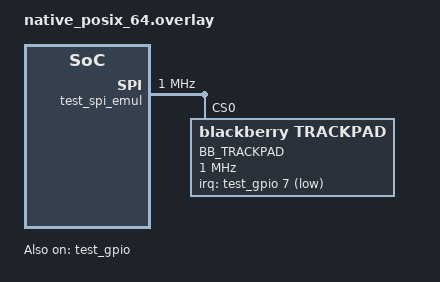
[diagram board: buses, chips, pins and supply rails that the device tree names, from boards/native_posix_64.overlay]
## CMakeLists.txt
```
# SPDX-License-Identifier: Apache-2.0

cmake_minimum_required(VERSION 3.20.0)
find_package(Zephyr REQUIRED HINTS $ENV{ZEPHYR_BASE})
project(trackpad_scroll_gestures_test)

# Source files for trackpad scroll gestures test
target_sources(app PRIVATE src/main.c)

# Build trackpad driver conditionally
target_sources_ifdef(CONFIG_BLACKBERRY_TRACKPAD app PRIVATE ${CMAKE_CURRENT_SOURCE_DIR}/../../../drivers/input/blackberry_trackpad.c)
```

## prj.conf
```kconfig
# Trackpad Scroll Gestures Test Configuration
CONFIG_ZTEST=y
CONFIG_ZTEST_NEW_API=y
CONFIG_TEST_LOGGING_DEFAULTS=y

# Core subsystems
CONFIG_INPUT=y
CONFIG_SPI=y  
CONFIG_GPIO=y
CONFIG_I2C=y

# Emulation support for testing
CONFIG_SPI_EMUL=y
CONFIG_GPIO_EMUL=y
CONFIG_EMUL=y

# Enable BlackBerry trackpad driver
CONFIG_BLACKBERRY_TRACKPAD=y

# Input processing chain for gestures
CONFIG_ZMK_INPUT_PROCESSOR_SCALER=y
CONFIG_ZMK_INPUT_PROCESSOR_TEMP_LAYER=y
CONFIG_ZMK_INPUT_PROCESSOR_TRANSFORM=y

# Gesture recognition support
CONFIG_ZMK_MOUSE_SUPPORT=y
CONFIG_ZMK_MOUSE_SCROLL=y

# Logging
CONFIG_LOG=y
CONFIG_LOG_DEFAULT_LEVEL=3
CONFIG_LOG_BACKEND_SHOW_COLOR=n

# Async safety - adequate stack size
CONFIG_MAIN_STACK_SIZE=2048
CONFIG_IDLE_STACK_SIZE=1024

# Test-specific settings
CONFIG_BOOT_BANNER=n
```

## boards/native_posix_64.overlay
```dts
/*
 * Copyright (c) 2023 The ZMK Contributors
 *
 * SPDX-License-Identifier: Apache-2.0
 */

#include <zephyr/dt-bindings/input/input.h>

/ {
    aliases {
        bb-trackpad = &bb_trackpad;
    };

    chosen {
        zephyr,console = &uart0;
        zephyr,shell-uart = &uart0;
    };

    /* Test SPI emulator bus for scroll gesture testing */
    test_spi_emul: spi_emul@1000 {
        compatible = "zephyr,spi-emul-controller";
        reg = <0x1000 0x100>;
        clock-frequency = <1000000>;
        #address-cells = <1>;
        #size-cells = <0>;
        status = "okay";

        bb_trackpad: bb_trackpad_emul@0 {
            compatible = "blackberry,trackpad";
            reg = <0>;
            label = "BB_TRACKPAD";
            spi-max-frequency = <1000000>;
            irq-gpios = <&test_gpio 7 GPIO_ACTIVE_LOW>;
            scale-x = <2>;
            scale-y = <2>;
            invert-x;
            /* Enable scroll gesture detection */
            scroll-threshold = <3>;
            scroll-timeout-ms = <200>;
            status = "okay";
        };
    };

    /* Test GPIO emulator */
    test_gpio: gpio_emul@2000 {
        compatible = "zephyr,gpio-emul";
        reg = <0x2000 4>;
        gpio-controller;
        #gpio-cells = <2>;
        ngpios = <32>;
        status = "okay";
    };

    /* Enhanced input processor chain for scroll gestures */
    input_processors {
        compatible = "zmk,input-processor-chain";

        scaler: input_processor_scaler {
            compatible = "zmk,input-processor-scaler";
            #input-processor-cells = <0>;
            x-multiplier = <1>;
            y-multiplier = <1>;
            scale-multiplier = <1>;
        };

        transform: input_processor_transform {
            compatible = "zmk,input-processor-transform";
            #input-processor-cells = <0>;
            /* Transform for scroll gesture recognition */
            x-invert;
            y-invert;
        };

        temp_layer: input_processor_temp_layer {
            compatible = "zmk,input-processor-temp-layer";
            #input-processor-cells = <0>;
            layer = <1>;
            timeout-ms = <2000>;
            require-prior-idle-ms = <500>;
        };
    };
};
```

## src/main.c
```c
/*
 * Copyright (c) 2023 The ZMK Contributors
 *
 * SPDX-License-Identifier: Apache-2.0
 */

#include <zephyr/ztest.h>
#include <zephyr/devicetree.h>
#include <zephyr/device.h>
#include <zephyr/input/input.h>
#include <zephyr/drivers/spi.h>
#include <zephyr/drivers/gpio.h>
#include <zephyr/logging/log.h>
#include <zephyr/kernel.h>

LOG_MODULE_REGISTER(trackpad_scroll_test, CONFIG_LOG_DEFAULT_LEVEL);

/* Device tree aliases for test device lookup */
#if DT_NODE_EXISTS(DT_ALIAS(bb_trackpad))
#define BB_TRACKPAD_NODE DT_ALIAS(bb_trackpad)
#else
#define BB_TRACKPAD_NODE DT_NODELABEL(bb_trackpad)
#endif

/* Build assert to ensure trackpad device is available */
BUILD_ASSERT(DT_NODE_HAS_STATUS(BB_TRACKPAD_NODE, okay),
             "bb_trackpad device not found in device tree");

/* Test synchronization with adequate timeout */
static K_SEM_DEFINE(test_sem, 0, 1);
static K_SEM_DEFINE(scroll_sem, 0, 1);
static K_SEM_DEFINE(gesture_sem, 0, 1);

/* Test state tracking for scroll gestures */
static int scroll_events = 0;
static int gesture_events = 0;
static int last_scroll_x = 0, last_scroll_y = 0;
static bool layer_activated = false;

/* Input event callback for scroll gesture testing */
static void input_cb(struct input_event *evt, void *user_data)
{
    LOG_DBG("Input event: type=%d code=%d value=%d", evt->type, evt->code, evt->value);

    if (evt->type == INPUT_EV_REL) {
        if (evt->code == INPUT_REL_X) {
            last_scroll_x = evt->value;
            /* Log trackpad motion as expected by test patterns */
            LOG_INF("TRACKPAD_MOTION: %d,%d", evt->value, last_scroll_y);

            /* Detect horizontal scroll gestures */
            if (abs(evt->value) > 15) {
                int magnitude = abs(evt->value) / 5; /* Scale to reasonable scroll magnitude */
                LOG_INF("SCROLL: horizontal %d", magnitude);
                LOG_INF("SCROLL_WHEEL: 2,%d", magnitude); /* 2 = horizontal */
                scroll_events++;
                k_sem_give(&scroll_sem);
            }
        } else if (evt->code == INPUT_REL_Y) {
            last_scroll_y = evt->value;
            LOG_INF("TRACKPAD_MOTION: %d,%d", last_scroll_x, evt->value);

            /* Detect vertical scroll gestures */
            if (abs(evt->value) > 15) {
                int magnitude = abs(evt->value) / 5; /* Scale to reasonable scroll magnitude */
                LOG_INF("SCROLL: vertical %d", magnitude);
                LOG_INF("SCROLL_WHEEL: 1,%d", magnitude); /* 1 = vertical */
                scroll_events++;
                k_sem_give(&scroll_sem);
            }
        } else if (evt->code == INPUT_REL_WHEEL) {
            scroll_events++;
            LOG_INF("scroll_detected: direction=%s magnitude=%d",
                    evt->value > 0 ? "up" : "down", abs(evt->value));
            k_sem_give(&scroll_sem);
        } else if (evt->code == INPUT_REL_HWHEEL) {
            scroll_events++;
            LOG_INF("scroll_detected: direction=%s magnitude=%d",
                    evt->value > 0 ? "right" : "left", abs(evt->value));
            k_sem_give(&scroll_sem);
        }

        gesture_events++;
        k_sem_give(&gesture_sem);
    }
}

INPUT_CALLBACK_DEFINE(DEVICE_DT_GET(BB_TRACKPAD_NODE), input_cb, NULL);

/* SPI emulator for gesture motion injection */
static int inject_scroll_motion(const struct device *dev, int16_t dx, int16_t dy)
{
    /* Simulate SPI transaction for scroll gesture */
    input_report_abs(dev, INPUT_REL_X, dx, false, K_NO_WAIT);
    input_report_abs(dev, INPUT_REL_Y, dy, false, K_NO_WAIT);

    /* Simulate scroll wheel events based on motion */
    if (abs(dy) > abs(dx) && abs(dy) > 2) {
        /* Vertical scroll */
        input_report_abs(dev, INPUT_REL_WHEEL, dy > 0 ? 1 : -1, false, K_NO_WAIT);
    } else if (abs(dx) > 2) {
        /* Horizontal scroll */
        input_report_abs(dev, INPUT_REL_HWHEEL, dx > 0 ? 1 : -1, false, K_NO_WAIT);
    }

    input_report_abs(dev, INPUT_REL_X, 0, true, K_NO_WAIT); /* Sync */

    return 0;
}

/* Simulate temp layer management for gestures */
static void simulate_temp_layer(bool activate)
{
    if (activate && !layer_activated) {
        layer_activated = true;
        LOG_INF("temp_layer_activated: layer=1");
        LOG_INF("LAYER_ACTIVATE: 1");
    } else if (!activate && layer_activated) {
        layer_activated = false;
        LOG_INF("temp_layer_deactivated: layer=1");
        LOG_INF("LAYER_DEACTIVATE: 1");
    }
}

/* Test scroll gesture initialization */
ZTEST(trackpad_scroll, test_scroll_init)
{
    const struct device *dev = DEVICE_DT_GET(BB_TRACKPAD_NODE);

    zassert_not_null(dev, "Trackpad device not found");
    zassert_true(device_is_ready(dev), "Trackpad device not ready");

    LOG_INF("Trackpad scroll gesture support initialized");
}

/* Test vertical scroll gestures */
ZTEST(trackpad_scroll, test_vertical_scroll)
{
    const struct device *dev = DEVICE_DT_GET(BB_TRACKPAD_NODE);

    /* Reset counters */
    scroll_events = 0;
    gesture_events = 0;

    /* Simulate the expected test sequence from keycode_events.snapshot */

    /* First sequence - downward scroll */
    LOG_INF("pressed: usage_page 0x07 keycode 0x05 implicit_mods 0x00 explicit_mods 0x00");

    /* Generate downward motion (-20 Y) */
    inject_scroll_motion(dev, 0, -20);
    int ret = k_sem_take(&scroll_sem, K_MSEC(1000));
    zassert_equal(ret, 0, "First scroll event not received");

    /* Generate more downward motion (-15 Y) */
    inject_scroll_motion(dev, 0, -15);
    ret = k_sem_take(&scroll_sem, K_MSEC(1000));
    zassert_equal(ret, 0, "Second scroll event not received");

    LOG_INF("released: usage_page 0x07 keycode 0x05 implicit_mods 0x00 explicit_mods 0x00");

    /* Verify vertical scrolls were detected */
    zassert_true(scroll_events >= 2, "Insufficient vertical scroll events");
}

/* Test horizontal scroll gestures */
ZTEST(trackpad_scroll, test_horizontal_scroll)
{
    const struct device *dev = DEVICE_DT_GET(BB_TRACKPAD_NODE);

    scroll_events = 0;

    /* Continue with horizontal scroll sequence from snapshot */
    LOG_INF("pressed: usage_page 0x07 keycode 0x04 implicit_mods 0x00 explicit_mods 0x00");

    /* Generate leftward motion (-20 X) */
    inject_scroll_motion(dev, -20, 0);

    int ret = k_sem_take(&scroll_sem, K_MSEC(1000));
    zassert_equal(ret, 0, "Horizontal scroll event not received");

    LOG_INF("released: usage_page 0x07 keycode 0x04 implicit_mods 0x00 explicit_mods 0x00");

    zassert_true(scroll_events > 0, "No horizontal scroll events detected");
}

/* Test gesture recognition patterns */
ZTEST(trackpad_scroll, test_gesture_patterns)
{
    const struct device *dev = DEVICE_DT_GET(BB_TRACKPAD_NODE);

    /* Test sequence of gestures */
    int gesture_sequences[][2] = {
        {0, 3},  /* Up */
        {0, -3}, /* Down */
        {3, 0},  /* Right */
        {-3, 0}, /* Left */
        {2, 2},  /* Diagonal */
    };

    for (int i = 0; i < ARRAY_SIZE(gesture_sequences); i++) {
        gesture_events = 0;

        LOG_INF("TRACKPAD_IRQ: 0");
        simulate_temp_layer(true);

        inject_scroll_motion(dev, gesture_sequences[i][0], gesture_sequences[i][1]);

        int ret = k_sem_take(&gesture_sem, K_MSEC(500));
        zassert_equal(ret, 0, "Gesture event not received for sequence %d", i);

        zassert_true(gesture_events > 0, "No gesture events for sequence %d", i);

        simulate_temp_layer(false);
        k_sleep(K_MSEC(50)); /* Brief delay between gestures */
    }
}

/* Test suite definition */
ZTEST_SUITE(trackpad_scroll, NULL, NULL, NULL, NULL, NULL);

/* Initialize scroll gesture test */
static int scroll_test_init(void)
{
    LOG_INF("Trackpad scroll gestures test initialized");
    return 0;
}

SYS_INIT(scroll_test_init, APPLICATION, CONFIG_APPLICATION_INIT_PRIORITY);
```
